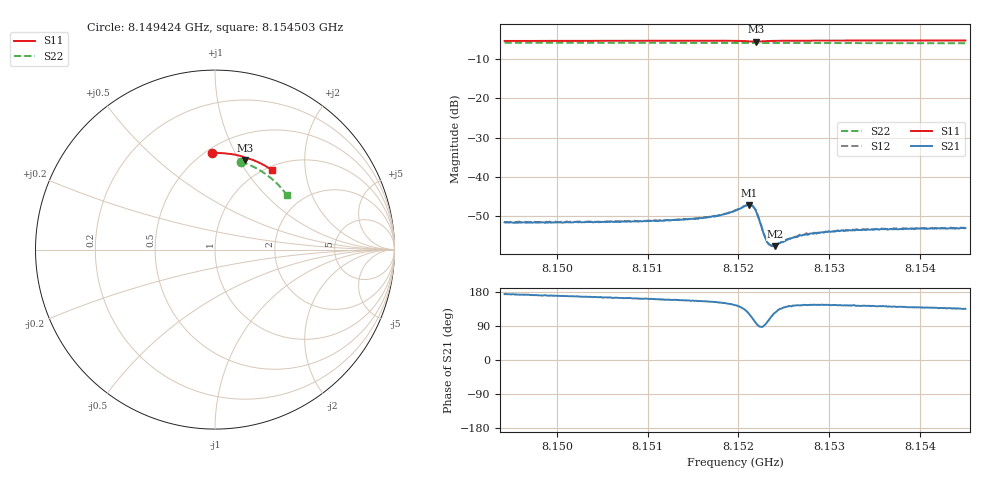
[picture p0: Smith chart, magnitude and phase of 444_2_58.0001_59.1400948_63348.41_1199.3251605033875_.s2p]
#  HZ  S  RI  R  50.00
! Rohde & Schwarz Vector Network Analyzer
! Rohde-Schwarz,ZNB20-2Port,1311601062101988,3.16
! Created: UTC 3/21/2024, 1:10:11 AM
! freq[Hz]  re:S11  im:S11  re:S21  im:S21  re:S12  im:S12  re:S22  im:S22
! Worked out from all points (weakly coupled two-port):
!   401 points, 8.149424 GHz to 8.154503 GHz, reference 50 ohm
!   highest |S21| = -47.11 dB at 8.152116 GHz (marker M1); lowest = -57.6 dB at 8.152408 GHz (marker M2)
!   lowest |S11| = -5.6 dB at 8.152192 GHz (marker M3), VSWR 3.23, Z = 38.3 + j53 ohm
!   |S11| at or under -10 dB: nowhere
!   |S22| runs from -6.0 to -5.8 dB; largest |S21 - S12| = 0.00012
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8.1494244e9  -0.0156 0.5373  -0.00263 0.000288  -0.00263 0.000338  0.1428 0.49
8.150275e9  0.0439 0.5372  -0.00257 0.000602  -0.0026 0.000644  0.194 0.4708
8.1511256e9  0.1029 0.5303  -0.00261 0.000955  -0.00261 0.000983  0.2428 0.4462
8.1514557e9  0.126 0.5256  -0.00269 0.00112  -0.00266 0.00118  0.2606 0.4353
8.1516461e9  0.1394 0.5223  -0.00275 0.00129  -0.00276 0.00136  0.2709 0.4287
8.1517858e9  0.1496 0.5193  -0.00285 0.00152  -0.00285 0.00155  0.2783 0.4236
8.1519635e9  0.163 0.5137  -0.00305 0.00213  -0.00303 0.00218  0.2876 0.417
8.1520778e9  0.1706 0.5066  -0.00283 0.00321  -0.00282 0.00326  0.2933 0.4127
8.1521159e9  0.1716 0.5031  -0.00237 0.00372  -0.00233 0.00375  0.2951 0.4111
8.152154e9  0.1703 0.5  -0.00151 0.00401  -0.00145 0.00405  0.297 0.4096
8.152192e9  0.1678 0.4997  -0.000491 0.00373  -0.000448 0.00377  0.2986 0.4082
8.1522301e9  0.1669 0.5023  4.86e-05 0.00286  8e-05 0.00285  0.3006 0.4069
8.1522936e9  0.1706 0.5067  -9.5e-05 0.00172  -6.21e-05 0.00172  0.3037 0.4046
8.152319e9  0.1727 0.5075  -0.000263 0.00143  -0.000251 0.00147  0.3051 0.4037
8.1523571e9  0.1763 0.5081  -0.000515 0.00125  -0.000492 0.00126  0.3068 0.4024
8.1524079e9  0.1807 0.5082  -0.000755 0.00108  -0.000748 0.0011  0.3094 0.4001
8.1525856e9  0.1949 0.5051  -0.0013 0.00103  -0.00133 0.00104  0.3182 0.393
8.1526618e9  0.2003 0.5033  -0.00144 0.00102  -0.00144 0.00105  0.3219 0.3897
8.1528141e9  0.211 0.4995  -0.00157 0.00111  -0.00157 0.00112  0.3292 0.3834
8.1532077e9  0.2368 0.4888  -0.00168 0.00124  -0.00167 0.00121  0.3473 0.3663
8.1536647e9  0.2655 0.4747  -0.00169 0.00134  -0.0017 0.00138  0.367 0.3454
8.1545026e9  0.3151 0.4449  -0.00157 0.00158  -0.00158 0.00158  0.3999 0.3044
